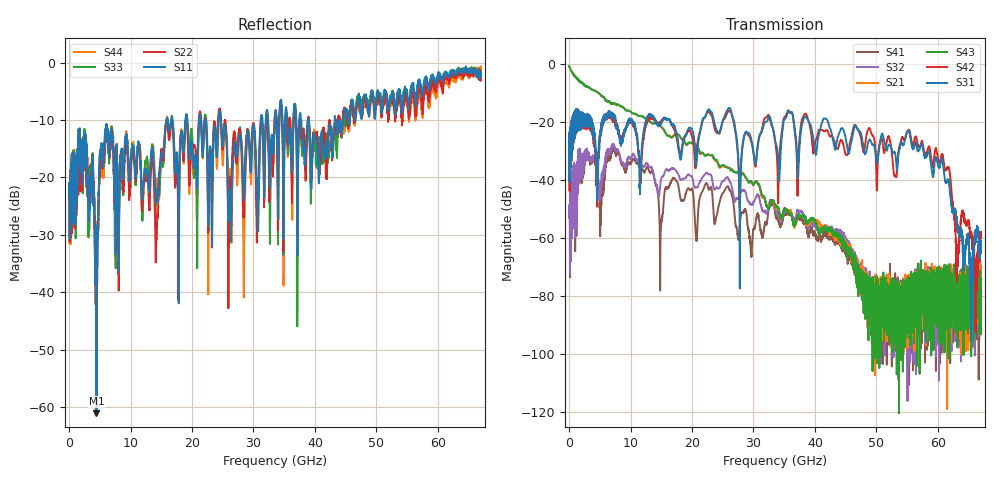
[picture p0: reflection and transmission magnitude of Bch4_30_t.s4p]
!Agilent Technologies,N5247A,US51170199,A.09.90.13
!Agilent N5247A: A.09.90.13
!Date: Wednesday, October 17, 2018 14:53:43
!Correction: S11(Full 4 Port(1,2,3,4))
!S12(Full 4 Port(1,2,3,4))
!S13(Full 4 Port(1,2,3,4))
!S14(Full 4 Port(1,2,3,4))
!S21(Full 4 Port(1,2,3,4))
!S22(Full 4 Port(1,2,3,4))
!S23(Full 4 Port(1,2,3,4))
!S24(Full 4 Port(1,2,3,4))
!S31(Full 4 Port(1,2,3,4))
!S32(Full 4 Port(1,2,3,4))
!S33(Full 4 Port(1,2,3,4))
!S34(Full 4 Port(1,2,3,4))
!S41(Full 4 Port(1,2,3,4))
!S42(Full 4 Port(1,2,3,4))
!S43(Full 4 Port(1,2,3,4))
!S44(Full 4 Port(1,2,3,4))
!S4P File: Measurements: <S11,S12,S13,S14>,
!<S21,S22,S23,S24>,
!<S31,S32,S33,S34>,
!<S41,S42,S43,S44>:
# Hz S  dB  R 50
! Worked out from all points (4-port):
!   6701 points, 10 MHz to 67 GHz, reference 50 ohm
!   strongest paths, dB at 10 MHz, 16.76 GHz, 33.51 GHz, 50.25 GHz, 67 GHz:
!     S31: -32.6, -21.0, -26.0, -32.5, -60.8
!     S42: -32.6, -20.8, -26.1, -32.0, -58.4
!     S43: -0.6, -25.1, -48.2, -74.2, -75.5
!     S21: -0.6, -25.3, -48.7, -77.0, -80.2
!     S32: -53.0, -35.9, -49.3, -75.5, -87.0
!     S41: -52.8, -39.8, -51.1, -85.9, -81.4
!   lowest |S11| = -61.1 dB at 4.459 GHz (marker M1), VSWR 1.00, Z = 50 - j0.0796 ohm
!   |S11| at or under -10 dB: start of sweep to 15.84 GHz; 24.69 GHz to 31.17 GHz (6.481 GHz wide, 23.2 % of centre); 38.97 GHz to 43.21 GHz (4.245 GHz wide, 10.3 % of centre)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
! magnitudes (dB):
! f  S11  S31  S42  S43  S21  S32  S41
! 10 MHz  -23.6  -32.6  -32.6  -0.6  -0.6  -53.0  -52.8
! 4.459 GHz  -61.1  -33.9  -37.9  -9.4  -9.4  -35.8  -36.1
! 6.129 GHz  -10.8  -17.2  -17.4  -12.7  -12.8  -30.2  -32.1
! 26.07 GHz  -22.9  -15.0  -16.1  -35.7  -35.7  -40.2  -43.2
! 27.79 GHz  -12.7  -59.5  -48.5  -38.0  -37.7  -45.0  -55.2
! 55.14 GHz  -6.4  -22.8  -22.9  -77.5  -82.4  -77.8  -80.5
! 67 GHz  -2.3  -60.8  -58.4  -75.5  -80.2  -87.0  -81.4
